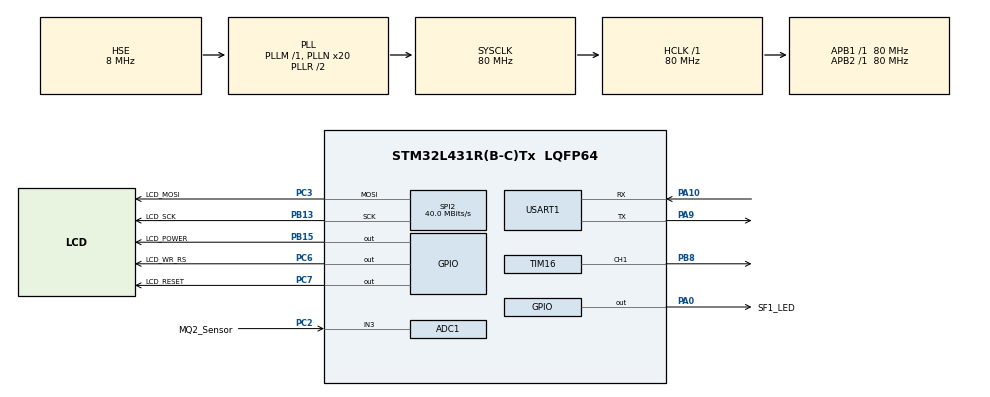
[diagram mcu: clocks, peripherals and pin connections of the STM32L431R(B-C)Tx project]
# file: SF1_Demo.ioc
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ADC1.Channel-0\#ChannelRegularConversion=ADC_CHANNEL_3
ADC1.NbrOfConversionFlag=1
ADC1.OffsetNumber-0\#ChannelRegularConversion=ADC_OFFSET_NONE
ADC1.Rank-0\#ChannelRegularConversion=1
ADC1.SamplingTime-0\#ChannelRegularConversion=ADC_SAMPLETIME_640CYCLES_5
ADC1.master=1
Mcu.Family=STM32L4
Mcu.Name=STM32L431R(B-C)Tx
Mcu.Package=LQFP64
NVIC.PriorityGroup=NVIC_PRIORITYGROUP_4
PA0.GPIO_Label=SF1_LED
PA0.GPIO_Speed=GPIO_SPEED_FREQ_VERY_HIGH
PA0.Signal=GPIO_Output
PA10.Mode=Asynchronous
PA10.Signal=USART1_RX
PA13\ (JTMS-SWDIO).Mode=Serial_Wire
PA13\ (JTMS-SWDIO).Signal=SYS_JTMS-SWDIO
PA14\ (JTCK-SWCLK).Mode=Serial_Wire
PA14\ (JTCK-SWCLK).Signal=SYS_JTCK-SWCLK
PA9.Mode=Asynchronous
PA9.Signal=USART1_TX
PB13.GPIO_Label=LCD_SCK
PB13.Mode=TX_Only_Simplex_Unidirect_Master
PB13.Signal=SPI2_SCK
PB15.GPIO_Label=LCD_POWER
PB15.GPIO_Speed=GPIO_SPEED_FREQ_VERY_HIGH
PB15.PinState=GPIO_PIN_SET
PB15.Signal=GPIO_Output
PB8.Signal=S_TIM16_CH1
PC2.GPIO_Label=MQ2_Sensor
PC2.Signal=ADCx_IN3
PC3.GPIO_Label=LCD_MOSI
PC3.Mode=TX_Only_Simplex_Unidirect_Master
PC3.Signal=SPI2_MOSI
PC6.GPIO_Label=LCD_WR_RS
PC6.GPIO_Speed=GPIO_SPEED_FREQ_VERY_HIGH
PC6.Signal=GPIO_Output
PC7.GPIO_Label=LCD_RESET
PC7.GPIO_Speed=GPIO_SPEED_FREQ_VERY_HIGH
PC7.Signal=GPIO_Output
PH0-OSC_IN\ (PH0).Mode=HSE-External-Oscillator
PH0-OSC_IN\ (PH0).Signal=RCC_OSC_IN
PH1-OSC_OUT\ (PH1).Mode=HSE-External-Oscillator
PH1-OSC_OUT\ (PH1).Signal=RCC_OSC_OUT
ProjectManager.HeapSize=0x200
ProjectManager.StackSize=0x400
ProjectManager.TargetToolchain=MDK-ARM V5
RCC.ADCFreq_Value=32000000
RCC.AHBFreq_Value=80000000
RCC.APB1Freq_Value=80000000
RCC.APB1TimFreq_Value=80000000
RCC.APB2Freq_Value=80000000
RCC.APB2TimFreq_Value=80000000
RCC.CortexFreq_Value=80000000
RCC.HCLKFreq_Value=80000000
RCC.HSE_VALUE=8000000
RCC.HSI48_VALUE=48000000
RCC.HSI_VALUE=16000000
RCC.LSE_VALUE=32768
RCC.MSI_VALUE=4000000
RCC.PLLN=20
RCC.PLLSourceVirtual=RCC_PLLSOURCE_HSE
RCC.SYSCLKFreq_VALUE=80000000
RCC.SYSCLKSource=RCC_SYSCLKSOURCE_PLLCLK
RCC.VCOOutputFreq_Value=160000000
SH.ADCx_IN3.0=ADC1_IN3,IN3-Single-Ended
SH.S_TIM16_CH1.0=TIM16_CH1,PWM Generation1 CH1
SPI2.CLKPhase=SPI_PHASE_2EDGE
SPI2.CLKPolarity=SPI_POLARITY_HIGH
SPI2.CalculateBaudRate=40.0 MBits/s
SPI2.DataSize=SPI_DATASIZE_8BIT
SPI2.Direction=SPI_DIRECTION_2LINES
SPI2.Mode=SPI_MODE_MASTER
SPI2.VirtualType=VM_MASTER
TIM16.Channel=TIM_CHANNEL_1
TIM16.Period=999
TIM16.Prescaler=79
TIM16.Pulse=499
USART1.VirtualMode-Asynchronous=VM_ASYNC
VP_TIM16_VS_ClockSourceINT.Mode=Enable_Timer
board=custom

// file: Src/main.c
/* USER CODE BEGIN Header */
/**
  ******************************************************************************
  * @file           : main.c
  * @brief          : Main program body
  ******************************************************************************
  * @attention
  *
  * <h2><center>&copy; Copyright (c) 2020 STMicroelectronics.
  * All rights reserved.</center></h2>
  *
  * This software component is licensed by ST under BSD 3-Clause license,
  * the "License"; You may not use this file except in compliance with the
  * License. You may obtain a copy of the License at:
  *                        opensource.org/licenses/BSD-3-Clause
  *
  ******************************************************************************
  */
/* USER CODE END Header */

#include "main.h"
#include "adc.h"
#include "spi.h"
#include "tim.h"
#include "usart.h"
#include "gpio.h"

/* USER CODE BEGIN Includes */
#include "lcd.h"
#include "HzLib.h"
/* USER CODE END Includes */

/* USER CODE BEGIN PTD */
typedef struct Sensor
{
    /*烟感值*/
    int Smoke_Value;
    /*报警灯状态*/
    uint8_t Alarm_Led_Status : 1;
    /*报警蜂鸣器状态*/
    uint8_t Alarm_Buzzer_Status : 1;
    /*是否打印曲线标志*/
    uint8_t Display_Plot_Flag : 1 ;

    void (*led_control)(struct Sensor *sensor_handle, uint8_t status);
    void (*buzzer_control)(struct Sensor *sensor_handle, uint8_t status);
    void (*plot_control)(struct Sensor *sensor_handle, uint8_t status);

    int (*get_smoke_value)(struct Sensor *sensor_handle);
    int (*get_led_status)(struct Sensor *sensor_handle);
    int (*get_buzzer_status)(struct Sensor *sensor_handle);
    int (*get_plot_status)(struct Sensor *sensor_handle);
} Sensor ;
Sensor *MQ2_Sensor = NULL;
/* USER CODE END PTD */

/* USER CODE BEGIN PV */
extern __IO int Timer_Count  ;
/* USER CODE END PV */

void SystemClock_Config(void);
/* USER CODE BEGIN PFP */
void alarm_led_control(Sensor *sensor_handle, uint8_t status)
{
    sensor_handle->Alarm_Led_Status = status ;

    if(sensor_handle->Alarm_Led_Status)
        HAL_GPIO_WritePin(SF1_LED_GPIO_Port, SF1_LED_Pin, GPIO_PIN_SET);
    else
        HAL_GPIO_WritePin(SF1_LED_GPIO_Port, SF1_LED_Pin, GPIO_PIN_RESET);
}

void alarm_buzzer_control(Sensor *sensor_handle, uint8_t status)
{
    sensor_handle->Alarm_Buzzer_Status = status ;

    if(sensor_handle->Alarm_Buzzer_Status)
        HAL_TIM_PWM_Start(&htim16, TIM_CHANNEL_1);
    else
        HAL_TIM_PWM_Stop(&htim16, TIM_CHANNEL_1);
}

void plot_display_control(Sensor *sensor_handle, uint8_t status)
{
    sensor_handle->Display_Plot_Flag = status ;
}

int get_led_status(Sensor *sensor_handle)
{
    return sensor_handle->Alarm_Led_Status ;
}

int get_buzzer_status(Sensor *sensor_handle)
{
    return sensor_handle->Alarm_Buzzer_Status ;
}

int get_plot_status(Sensor *sensor_handle)
{
    return sensor_handle->Display_Plot_Flag ;
}

int get_smoke_value(Sensor *sensor_handle)
{
    HAL_ADC_Start(&hadc1);
    HAL_ADC_PollForConversion(&hadc1, 50);
    sensor_handle->Smoke_Value = HAL_ADC_GetValue(&hadc1);
    return sensor_handle->Smoke_Value ;
}
/* USER CODE END PFP */

/* USER CODE BEGIN 0 */
/*提供访问传感器的接口*/
Sensor mq2_sensor_interface =
{
    /*设置接口*/
    .led_control = alarm_led_control,
    .buzzer_control = alarm_buzzer_control,
    .plot_control = plot_display_control,
    /*获取接口*/
    .get_led_status = get_led_status,
    .get_buzzer_status = get_buzzer_status,
    .get_plot_status = get_plot_status,
    .get_smoke_value = get_smoke_value
};

/*注册传感器*/
int Sensor_Register(Sensor *sensor_handle)
{
    if(NULL == MQ2_Sensor)
    {
        MQ2_Sensor = sensor_handle ;

        if(NULL == MQ2_Sensor)
            return -1 ;
        else
        {
            MQ2_Sensor->led_control(MQ2_Sensor, 0);
            MQ2_Sensor->buzzer_control(MQ2_Sensor, 0);
            MQ2_Sensor->plot_control(MQ2_Sensor, 0);
        }
    }

    return 0 ;
}
/* USER CODE END 0 */

int main(void)
{
    /* USER CODE BEGIN 1 */
    int smoke_value = 0 ;
    int serial_number = 0 ;
    char procol_buf[20] = {0};
    char display_buf[20] = {0};
    static uint8_t buzzer_flag = 0;
    static uint8_t led_status = 0 ;
    static uint8_t plot_status = 0 ;
    /* USER CODE END 1 */

    /* MCU Configuration--------------------------------------------------------*/

    /* Reset of all peripherals, Initializes the Flash interface and the Systick. */
    HAL_Init();

    /* Configure the system clock */
    SystemClock_Config();

    /* Initialize all configured peripherals */
    MX_GPIO_Init();
    MX_ADC1_Init();
    MX_SPI2_Init();
    MX_USART1_UART_Init();
    MX_TIM16_Init();
    /* USER CODE BEGIN 2 */
    Sensor_Register(&mq2_sensor_interface);
    printf("led_status:%d\n", mq2_sensor_interface.get_led_status(&mq2_sensor_interface));
    printf("buzzer_status:%d\n", mq2_sensor_interface.get_buzzer_status(&mq2_sensor_interface));
    printf("plot_status:%d\n", mq2_sensor_interface.get_plot_status(&mq2_sensor_interface));
    LCD_Init();
    LCD_Clear(BLACK);//清屏为黑色
    LCD_ShowString(5, 10, 240, 32, 32, "BearPi MQ-2");//显示字符串，字体大小32*32
    Timer_Count = 0 ;

    /*设置曲线显示*/
    mq2_sensor_interface.plot_control(&mq2_sensor_interface, 1);
    plot_status = mq2_sensor_interface.get_plot_status(&mq2_sensor_interface);
    /* USER CODE END 2 */

    /* Infinite loop */
    while (1)
    {

        /* USER CODE BEGIN 3 */
        //printf("烟感值:%d\n",mq2_sensor_interface.get_smoke_value(&mq2_sensor_interface));
        /*判断是否100ms到了，该计数由Systick提供，1ms中断一次，100次则为100ms*/
        if(100 == Timer_Count)
        {
            Timer_Count = 0 ;
            /*流水号自增*/
            ++serial_number ;

            if(serial_number > 65535)
                serial_number = 0 ;

            smoke_value = mq2_sensor_interface.get_smoke_value(&mq2_sensor_interface) ;

            /*当烟感值大于600ppm，则报警*/
            if(smoke_value > 600)
            {
                /*这里的buzzer_flag只执行一次，避免重复执行*/
                if(0 == buzzer_flag)
                {
                    buzzer_flag = 1 ;
                    mq2_sensor_interface.buzzer_control(&mq2_sensor_interface, 1);
                }

                led_status = !led_status ;
                mq2_sensor_interface.led_control(&mq2_sensor_interface, led_status);
            }
            else
            {
                /*这里的buzzer_flag只执行一次，避免重复执行*/
                if(1 == buzzer_flag)
                {
                    buzzer_flag = 0 ;
                    mq2_sensor_interface.buzzer_control(&mq2_sensor_interface, 0);
                    led_status = 0 ;
                    mq2_sensor_interface.led_control(&mq2_sensor_interface, led_status);
                }
            }

            /*在LCD上显示烟感值*/
            sprintf(display_buf, "%d%d%d%dppm", smoke_value / 1000 % 100, smoke_value / 100 % 10, smoke_value / 10 % 10, smoke_value % 10);
            LCD_ShowString(80, 50 + 24 + 32, 240, 32, 32, display_buf); //显示字符串，字体大小32*32
            /*拼接发送协议*/
            sprintf(procol_buf, "S1 %d%d%d%d%d %d%d%d%d%d",
                    serial_number / 10000,
                    serial_number / 1000 % 100 % 10,
                    serial_number / 100 % 10,
                    serial_number / 10 % 10,
                    serial_number % 10,
                    smoke_value / 10000,
                    smoke_value / 1000 % 100 % 10,
                    smoke_value / 100 % 10,
                    smoke_value / 10 % 10,
                    smoke_value % 10
                   );

            /*如果曲线标志为1，则打印曲线*/
            if(1 == plot_status)
                printf("%s \r\n", procol_buf);
        }
    }

    /* USER CODE END 3 */
}

void SystemClock_Config(void)
{
    RCC_OscInitTypeDef RCC_OscInitStruct = {0};
    RCC_ClkInitTypeDef RCC_ClkInitStruct = {0};
    RCC_PeriphCLKInitTypeDef PeriphClkInit = {0};

    /** Initializes the CPU, AHB and APB busses clocks
    */
    RCC_OscInitStruct.OscillatorType = RCC_OSCILLATORTYPE_HSE;
    RCC_OscInitStruct.HSEState = RCC_HSE_ON;
    RCC_OscInitStruct.PLL.PLLState = RCC_PLL_ON;
    RCC_OscInitStruct.PLL.PLLSource = RCC_PLLSOURCE_HSE;
    RCC_OscInitStruct.PLL.PLLM = 1;
    RCC_OscInitStruct.PLL.PLLN = 20;
    RCC_OscInitStruct.PLL.PLLP = RCC_PLLP_DIV7;
    RCC_OscInitStruct.PLL.PLLQ = RCC_PLLQ_DIV2;
    RCC_OscInitStruct.PLL.PLLR = RCC_PLLR_DIV2;

    if (HAL_RCC_OscConfig(&RCC_OscInitStruct) != HAL_OK)
    {
        Error_Handler();
    }

    /** Initializes the CPU, AHB and APB busses clocks
    */
    RCC_ClkInitStruct.ClockType = RCC_CLOCKTYPE_HCLK | RCC_CLOCKTYPE_SYSCLK
                                  | RCC_CLOCKTYPE_PCLK1 | RCC_CLOCKTYPE_PCLK2;
    RCC_ClkInitStruct.SYSCLKSource = RCC_SYSCLKSOURCE_PLLCLK;
    RCC_ClkInitStruct.AHBCLKDivider = RCC_SYSCLK_DIV1;
    RCC_ClkInitStruct.APB1CLKDivider = RCC_HCLK_DIV1;
    RCC_ClkInitStruct.APB2CLKDivider = RCC_HCLK_DIV1;

    if (HAL_RCC_ClockConfig(&RCC_ClkInitStruct, FLASH_LATENCY_4) != HAL_OK)
    {
        Error_Handler();
    }

    PeriphClkInit.PeriphClockSelection = RCC_PERIPHCLK_USART1 | RCC_PERIPHCLK_ADC;
    PeriphClkInit.Usart1ClockSelection = RCC_USART1CLKSOURCE_PCLK2;
    PeriphClkInit.AdcClockSelection = RCC_ADCCLKSOURCE_PLLSAI1;
    PeriphClkInit.PLLSAI1.PLLSAI1Source = RCC_PLLSOURCE_HSE;
    PeriphClkInit.PLLSAI1.PLLSAI1M = 1;
    PeriphClkInit.PLLSAI1.PLLSAI1N = 8;
    PeriphClkInit.PLLSAI1.PLLSAI1P = RCC_PLLP_DIV7;
    PeriphClkInit.PLLSAI1.PLLSAI1Q = RCC_PLLQ_DIV2;
    PeriphClkInit.PLLSAI1.PLLSAI1R = RCC_PLLR_DIV2;
    PeriphClkInit.PLLSAI1.PLLSAI1ClockOut = RCC_PLLSAI1_ADC1CLK;

    if (HAL_RCCEx_PeriphCLKConfig(&PeriphClkInit) != HAL_OK)
    {
        Error_Handler();
    }

    /** Configure the main internal regulator output voltage
    */
    if (HAL_PWREx_ControlVoltageScaling(PWR_REGULATOR_VOLTAGE_SCALE1) != HAL_OK)
    {
        Error_Handler();
    }
}

void Error_Handler(void)
{
}

/************************ (C) COPYRIGHT STMicroelectronics *****END OF FILE****/
